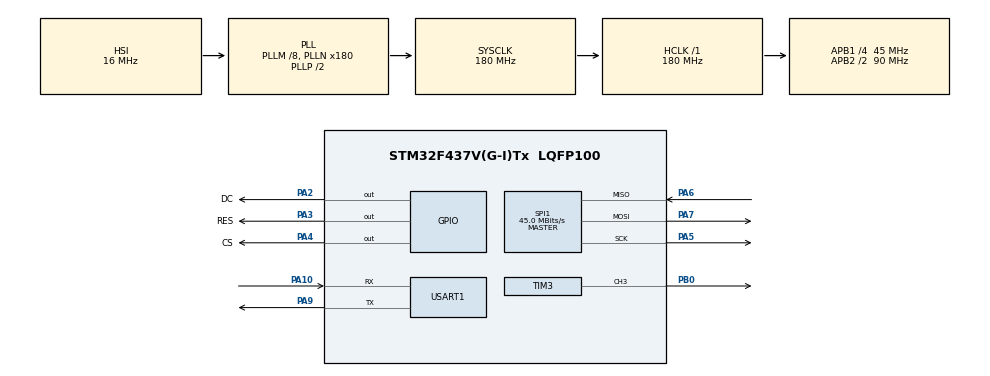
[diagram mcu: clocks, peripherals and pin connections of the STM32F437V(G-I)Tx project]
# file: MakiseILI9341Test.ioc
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Dma.Request0=SPI1_TX
Dma.SPI1_TX.0.Direction=DMA_MEMORY_TO_PERIPH
Dma.SPI1_TX.0.FIFOMode=DMA_FIFOMODE_DISABLE
Dma.SPI1_TX.0.Instance=DMA2_Stream3
Dma.SPI1_TX.0.MemDataAlignment=DMA_MDATAALIGN_BYTE
Dma.SPI1_TX.0.MemInc=DMA_MINC_ENABLE
Dma.SPI1_TX.0.Mode=DMA_NORMAL
Dma.SPI1_TX.0.PeriphDataAlignment=DMA_PDATAALIGN_BYTE
Dma.SPI1_TX.0.PeriphInc=DMA_PINC_DISABLE
Dma.SPI1_TX.0.Priority=DMA_PRIORITY_LOW
Mcu.Family=STM32F4
Mcu.Name=STM32F437V(G-I)Tx
Mcu.Package=LQFP100
NVIC.DMA2_Stream3_IRQn=true\:0\:0\:false\:false\:true
NVIC.PriorityGroup=NVIC_PRIORITYGROUP_4
PA10.Mode=Asynchronous
PA10.Signal=USART1_RX
PA13.Mode=Serial_Wire
PA13.Signal=SYS_JTMS-SWDIO
PA14.Mode=Serial_Wire
PA14.Signal=SYS_JTCK-SWCLK
PA2.GPIO_Label=DC
PA2.Signal=GPIO_Output
PA3.GPIO_Label=RES
PA3.Signal=GPIO_Output
PA4.GPIO_Label=CS
PA4.Signal=GPIO_Output
PA5.Mode=Full_Duplex_Master
PA5.Signal=SPI1_SCK
PA6.Mode=Full_Duplex_Master
PA6.Signal=SPI1_MISO
PA7.Mode=Full_Duplex_Master
PA7.Signal=SPI1_MOSI
PA9.Mode=Asynchronous
PA9.Signal=USART1_TX
PB0.Signal=S_TIM3_CH3
ProjectManager.HeapSize=0x200
ProjectManager.StackSize=0x400
ProjectManager.TargetToolchain=SW4STM32
RCC.48MHZClocksFreq_Value=90000000
RCC.AHBCLKDivider=RCC_SYSCLK_DIV1
RCC.AHBFreq_Value=180000000
RCC.APB1CLKDivider=RCC_HCLK_DIV4
RCC.APB1Freq_Value=45000000
RCC.APB1TimFreq_Value=90000000
RCC.APB2CLKDivider=RCC_HCLK_DIV2
RCC.APB2Freq_Value=90000000
RCC.APB2TimFreq_Value=180000000
RCC.ClockTypeHCLK=RCC_CLOCKTYPE_HCLK
RCC.ClockTypePCLK1=RCC_CLOCKTYPE_PCLK1
RCC.ClockTypePCLK2=RCC_CLOCKTYPE_PCLK2
RCC.ClockTypeSysClk=RCC_CLOCKTYPE_SYSCLK
RCC.CortexFreq_Value=180000000
RCC.EnableExtClockForI2S=false
RCC.EnableExtClockForSAIA=false
RCC.EnableExtClockForSAIB=false
RCC.EnableHSE=false
RCC.EnableHSERTCDevisor=false
RCC.EnableLSE=false
RCC.EnableLSERTC=false
RCC.ExtClockEnable=false
RCC.HCLKFreq_Value=180000000
RCC.HSEState=RCC_HSE_OFF
RCC.HSE_VALUE=16000000
RCC.HSIState=RCC_HSI_ON
RCC.HSI_VALUE=16000000
RCC.I2SEnable=false
RCC.IWDGEnable=false
RCC.LSE_VALUE=32768
RCC.LSIState=RCC_LSI_OFF
RCC.LTDCEnable=false
RCC.MCO1OutPutEnable=false
RCC.MCO2OutPutEnable=false
RCC.OscillatorTypeHSI=RCC_OSCILLATORTYPE_HSI
RCC.PLLI2SCLKSAIA_BEnable=false
RCC.PLLM=8
RCC.PLLN=180
RCC.PLLP=RCC_PLLP_DIV2
RCC.PLLSource=RCC_PLLSOURCE_HSI
RCC.PLLSourceVirtual=RCC_PLLSOURCE_HSI
RCC.PLLState=RCC_PLL_ON
RCC.RNGEnable=false
RCC.RTCEnable=false
RCC.SAIAEnable=false
RCC.SAIBEnable=false
RCC.SDIOEnable=false
RCC.SYSCLKFreq_VALUE=180000000
RCC.SYSCLKSource=RCC_SYSCLKSOURCE_PLLCLK
RCC.USBFSEnable=false
RCC.USBHSEnable=false
RCC.VCOOutputFreq_Value=360000000
SH.S_TIM3_CH3.0=TIM3_CH3,PWM Generation3 CH3
SPI1.BaudRatePrescaler=SPI_BAUDRATEPRESCALER_2
SPI1.CRCPolynomial=10
SPI1.CalculateBaudRate=45.0 MBits/s
SPI1.Direction=SPI_DIRECTION_2LINES
SPI1.Mode=SPI_MODE_MASTER
SPI1.VirtualType=VM_MASTER
TIM3.Channel-PWM\ Generation3\ CH3=TIM_CHANNEL_3
TIM3.Period=16
TIM3.Prescaler=2
TIM3.Pulse-PWM\ Generation3\ CH3=15
USART1.HwFlowCtl-Asynchronous=UART_HWCONTROL_NONE
USART1.VirtualMode=VM_ASYNC
VP_TIM3_VS_ClockSourceINT.Mode=Internal
board=MakiseILI9341Test

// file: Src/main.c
/**
  ******************************************************************************
  * File Name          : main.c
  * Description        : Main program body
  ******************************************************************************
  *
  * COPYRIGHT(c) 2017 STMicroelectronics
  *
  * Redistribution and use in source and binary forms, with or without modification,
  * are permitted provided that the following conditions are met:
  *   1. Redistributions of source code must retain the above copyright notice,
  *      this list of conditions and the following disclaimer.
  *   2. Redistributions in binary form must reproduce the above copyright notice,
  *      this list of conditions and the following disclaimer in the documentation
  *      and/or other materials provided with the distribution.
  *   3. Neither the name of STMicroelectronics nor the names of its contributors
  *      may be used to endorse or promote products derived from this software
  *      without specific prior written permission.
  *
  * THIS SOFTWARE IS PROVIDED BY THE COPYRIGHT HOLDERS AND CONTRIBUTORS "AS IS"
  * AND ANY EXPRESS OR IMPLIED WARRANTIES, INCLUDING, BUT NOT LIMITED TO, THE
  * IMPLIED WARRANTIES OF MERCHANTABILITY AND FITNESS FOR A PARTICULAR PURPOSE ARE
  * DISCLAIMED. IN NO EVENT SHALL THE COPYRIGHT HOLDER OR CONTRIBUTORS BE LIABLE
  * FOR ANY DIRECT, INDIRECT, INCIDENTAL, SPECIAL, EXEMPLARY, OR CONSEQUENTIAL
  * DAMAGES (INCLUDING, BUT NOT LIMITED TO, PROCUREMENT OF SUBSTITUTE GOODS OR
  * SERVICES; LOSS OF USE, DATA, OR PROFITS; OR BUSINESS INTERRUPTION) HOWEVER
  * CAUSED AND ON ANY THEORY OF LIABILITY, WHETHER IN CONTRACT, STRICT LIABILITY,
  * OR TORT (INCLUDING NEGLIGENCE OR OTHERWISE) ARISING IN ANY WAY OUT OF THE USE
  * OF THIS SOFTWARE, EVEN IF ADVISED OF THE POSSIBILITY OF SUCH DAMAGE.
  *
  ******************************************************************************
  */
#include "main.h"
#include "stm32f4xx_hal.h"
#include "dma.h"
#include "spi.h"
#include "tim.h"
#include "usart.h"
#include "gpio.h"

/* USER CODE BEGIN Includes */
#include "gui.h"
#include "tests.h"
/* USER CODE END Includes */

/* USER CODE BEGIN PV */
/* Private variables ---------------------------------------------------------*/

/* USER CODE END PV */

void SystemClock_Config(void);
void Error_Handler(void);

/* USER CODE BEGIN PFP */
/* Private function prototypes -----------------------------------------------*/

/* USER CODE END PFP */

/* USER CODE BEGIN 0 */
//uart key codes
#define K_A 97
#define K_D 100
#define K_W 119
#define K_S 115
#define K_SPACE 32
#define K_ESC 27
#define K_TAB 9
#define K_MINUS 45
#define K_EQUALS 61
#define K_BACKSPACE 8
void inp(uint8_t i) //key from uart handler
{
    switch (i) {
    case K_A:
	makise_gui_input_send_button(host,
				     M_KEY_LEFT,
				     M_INPUT_CLICK, 100);
	break;
    case K_D:
	makise_gui_input_send_button(host,
				     M_KEY_RIGHT,
				     M_INPUT_CLICK, 100);
	break;
    case K_W:
	makise_gui_input_send_button(host,
				     M_KEY_UP,
				     M_INPUT_CLICK, 100);
	break;
    case K_S:
	makise_gui_input_send_button(host,
				     M_KEY_DOWN,
				     M_INPUT_CLICK, 100);
	break;
    case K_SPACE:
	makise_gui_input_send_button(host,
				     M_KEY_OK,
				     M_INPUT_CLICK, 100);
	break;
    case K_TAB:
	makise_gui_input_send_button(host,
				     M_KEY_TAB_NEXT,
				     M_INPUT_CLICK, 100);
	break;
    case K_ESC:
	makise_gui_input_send_button(host,
				     M_KEY_USER_ESC,
				     M_INPUT_CLICK, 100);
	break;
    case K_MINUS:
	makise_gui_input_send_button(host,
				     M_KEY_USER_FOCUS_PREV,
				     M_INPUT_CLICK, 100);
	break;
    case K_EQUALS:
	makise_gui_input_send_button(host,
				     M_KEY_USER_FOCUS_NEXT,
				     M_INPUT_CLICK, 100);
	break;
    case K_BACKSPACE:
	makise_gui_input_send_button(host,
				     M_KEY_USER_TREE,
				     M_INPUT_CLICK, 100);
	break;
default:
	break;
    }
}
/* USER CODE END 0 */

int main(void)
{

  /* MCU Configuration----------------------------------------------------------*/

  /* Reset of all peripherals, Initializes the Flash interface and the Systick. */
  HAL_Init();

  /* Configure the system clock */
  SystemClock_Config();

  /* Initialize all configured peripherals */
  MX_GPIO_Init();
  MX_DMA_Init();
  MX_SPI1_Init();
  MX_TIM3_Init();
  MX_USART1_UART_Init();

  /* USER CODE BEGIN 2 */
  gui_init();
  tests_init(host);

  /* USER CODE END 2 */

  /* Infinite loop */
  /* USER CODE BEGIN WHILE */
  uint8_t v = 0;
  while (1)
  {
      HAL_UART_Receive(&huart1, &v, 1, 100);
      if(v != 0)
      {
	  printf("%d\n", v);
	  inp(v);
      }
      v = 0;
  /* USER CODE END WHILE */

  }

}

/** System Clock Configuration
*/
void SystemClock_Config(void)
{

  RCC_OscInitTypeDef RCC_OscInitStruct;
  RCC_ClkInitTypeDef RCC_ClkInitStruct;

    /**Configure the main internal regulator output voltage
    */
  __HAL_RCC_PWR_CLK_ENABLE();

  __HAL_PWR_VOLTAGESCALING_CONFIG(PWR_REGULATOR_VOLTAGE_SCALE1);

    /**Initializes the CPU, AHB and APB busses clocks
    */
  RCC_OscInitStruct.OscillatorType = RCC_OSCILLATORTYPE_HSI;
  RCC_OscInitStruct.HSIState = RCC_HSI_ON;
  RCC_OscInitStruct.HSICalibrationValue = 16;
  RCC_OscInitStruct.PLL.PLLState = RCC_PLL_ON;
  RCC_OscInitStruct.PLL.PLLSource = RCC_PLLSOURCE_HSI;
  RCC_OscInitStruct.PLL.PLLM = 8;
  RCC_OscInitStruct.PLL.PLLN = 180;
  RCC_OscInitStruct.PLL.PLLP = RCC_PLLP_DIV2;
  RCC_OscInitStruct.PLL.PLLQ = 4;
  if (HAL_RCC_OscConfig(&RCC_OscInitStruct) != HAL_OK)
  {
    Error_Handler();
  }

    /**Activate the Over-Drive mode
    */
  if (HAL_PWREx_EnableOverDrive() != HAL_OK)
  {
    Error_Handler();
  }

    /**Initializes the CPU, AHB and APB busses clocks
    */
  RCC_ClkInitStruct.ClockType = RCC_CLOCKTYPE_HCLK|RCC_CLOCKTYPE_SYSCLK
                              |RCC_CLOCKTYPE_PCLK1|RCC_CLOCKTYPE_PCLK2;
  RCC_ClkInitStruct.SYSCLKSource = RCC_SYSCLKSOURCE_PLLCLK;
  RCC_ClkInitStruct.AHBCLKDivider = RCC_SYSCLK_DIV1;
  RCC_ClkInitStruct.APB1CLKDivider = RCC_HCLK_DIV4;
  RCC_ClkInitStruct.APB2CLKDivider = RCC_HCLK_DIV2;

  if (HAL_RCC_ClockConfig(&RCC_ClkInitStruct, FLASH_LATENCY_5) != HAL_OK)
  {
    Error_Handler();
  }

    /**Configure the Systick interrupt time
    */
  HAL_SYSTICK_Config(HAL_RCC_GetHCLKFreq()/1000);

    /**Configure the Systick
    */
  HAL_SYSTICK_CLKSourceConfig(SYSTICK_CLKSOURCE_HCLK);

  /* SysTick_IRQn interrupt configuration */
  HAL_NVIC_SetPriority(SysTick_IRQn, 0, 0);
}

void Error_Handler(void)
{
  while(1)
  {
  }
}

/************************ (C) COPYRIGHT STMicroelectronics *****END OF FILE****/
